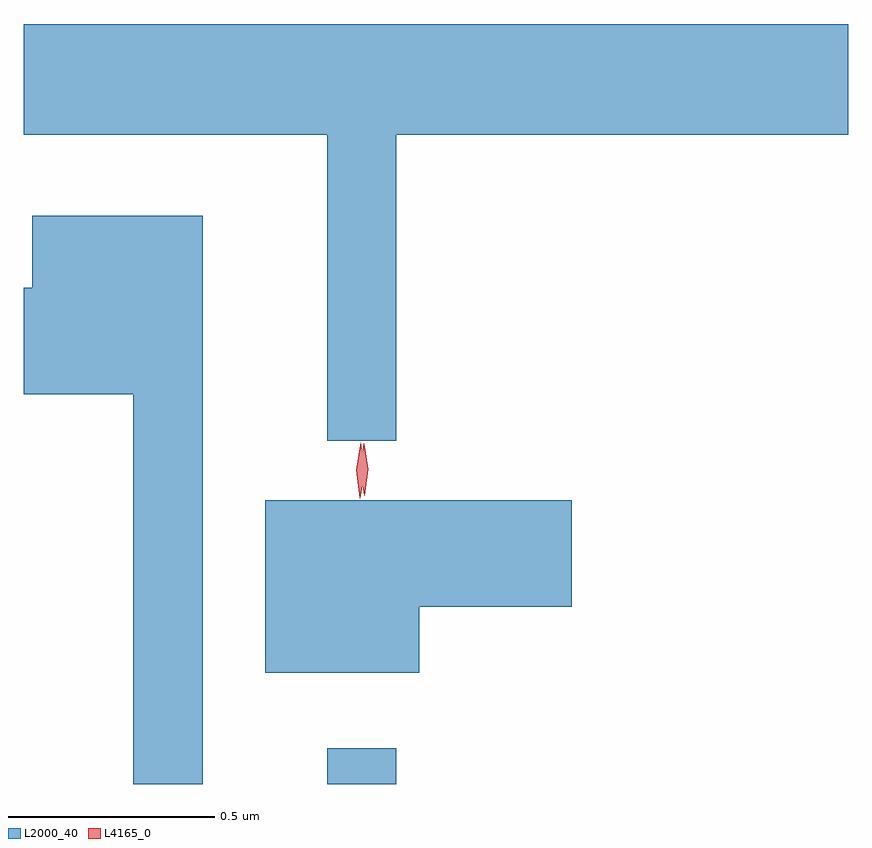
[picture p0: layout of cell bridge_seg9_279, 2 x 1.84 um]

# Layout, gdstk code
import gdstk
lib = gdstk.Library(unit=1e-6, precision=1e-09)
def R(c, l, rs):  # rectangles x0, y0, x1, y1
    for r in rs: c.add(gdstk.rectangle(r[:2], r[2:], *l))
def P(c, l, *ps):  # polygons
    for p in ps: c.add(gdstk.Polygon(p, *l))
L2000_40 = (2000, 40)
L4165_0 = (4165, 0)

bridge_seg9_279 = lib.new_cell('bridge_seg9_279')
R(bridge_seg9_279, L2000_40, [(921.231,2072.381,921.399,2072.468)])
P(bridge_seg9_279, L2000_40, [(921.399,2073.956),(922.495,2073.956),(922.495,2074.224),(920.495,2074.224),(920.495,2073.956),(921.231,2073.956),(921.231,2073.213),(921.399,2073.213)],
  [(920.929,2073.759),(920.516,2073.759),(920.516,2073.584),(920.495,2073.584),(920.495,2073.326),(920.761,2073.326),(920.761,2072.381),(920.929,2072.381)],
  [(921.454,2072.811),(921.824,2072.811),(921.824,2073.069),(921.081,2073.069),(921.081,2072.651),(921.454,2072.651)])
P(bridge_seg9_279, L4165_0, [(921.31,2073.074),(921.302,2073.142),(921.312,2073.21),(921.312,2073.21),(921.313,2073.21),(921.322,2073.142),(921.311,2073.074),(921.311,2073.074)],
  [(921.322,2073.08),(921.321,2073.081),(921.311,2073.144),(921.32,2073.206),(921.32,2073.207),(921.321,2073.206),(921.331,2073.144),(921.322,2073.081)])

lib.write_gds('bridge_seg9_279.gds')
